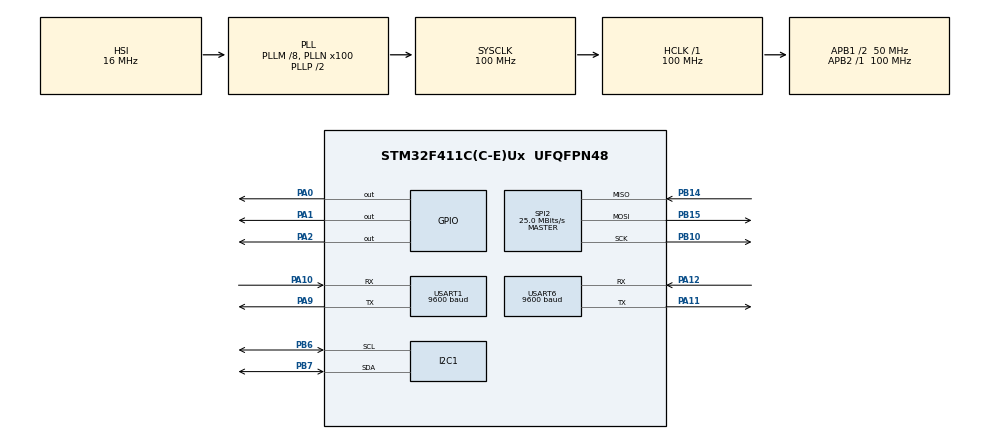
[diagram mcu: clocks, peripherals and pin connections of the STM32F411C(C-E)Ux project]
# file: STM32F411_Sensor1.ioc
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FREERTOS.BinarySemaphores01=myBinarySem01,Dynamic,NULL
FREERTOS.Queues01=myQueue01,16,uint16_t,0,Dynamic,NULL,NULL
FREERTOS.Tasks01=defaultTask,0,128,StartDefaultTask,Default,NULL,Dynamic,NULL,NULL;myTask02,-3,256,StartTask02,Default,NULL,Dynamic,NULL,NULL;myTask03,-3,128,StartTask03,Default,NULL,Dynamic,NULL,NULL
FREERTOS.Timers01=myTimer01,Callback01,osTimerPeriodic,Default,NULL,Dynamic,NULL
FREERTOS.configUSE_TIMERS=1
IWDG.Reload=750
Mcu.Family=STM32F4
Mcu.Name=STM32F411C(C-E)Ux
Mcu.Package=UFQFPN48
NVIC.PriorityGroup=NVIC_PRIORITYGROUP_4
NVIC.SPI2_IRQn=true\:5\:0\:false\:false\:true\:true\:true\:true\:true
NVIC.TIM2_IRQn=true\:15\:0\:false\:false\:true\:false\:false\:true\:true
NVIC.TimeBase=TIM2_IRQn
NVIC.TimeBaseIP=TIM2
NVIC.USART1_IRQn=true\:5\:0\:false\:false\:true\:true\:true\:true\:true
NVIC.USART6_IRQn=true\:5\:0\:false\:false\:true\:true\:true\:true\:true
PA0-WKUP.Signal=GPIO_Output
PA1.Signal=GPIO_Output
PA10.Mode=Asynchronous
PA10.Signal=USART1_RX
PA11.Mode=Asynchronous
PA11.Signal=USART6_TX
PA12.Mode=Asynchronous
PA12.Signal=USART6_RX
PA13.Mode=Serial_Wire
PA13.Signal=SYS_JTMS-SWDIO
PA14.Mode=Serial_Wire
PA14.Signal=SYS_JTCK-SWCLK
PA2.Signal=GPIO_Output
PA9.Mode=Asynchronous
PA9.Signal=USART1_TX
PB10.Mode=Full_Duplex_Master
PB10.Signal=SPI2_SCK
PB14.Mode=Full_Duplex_Master
PB14.Signal=SPI2_MISO
PB15.Mode=Full_Duplex_Master
PB15.Signal=SPI2_MOSI
PB6.Mode=I2C
PB6.Signal=I2C1_SCL
PB7.Mode=I2C
PB7.Signal=I2C1_SDA
PC14-OSC32_IN.Mode=LSE-External-Oscillator
PC14-OSC32_IN.Signal=RCC_OSC32_IN
PC15-OSC32_OUT.Mode=LSE-External-Oscillator
PC15-OSC32_OUT.Signal=RCC_OSC32_OUT
PH0\ -\ OSC_IN.Mode=HSE-External-Oscillator
PH0\ -\ OSC_IN.Signal=RCC_OSC_IN
PH1\ -\ OSC_OUT.Mode=HSE-External-Oscillator
PH1\ -\ OSC_OUT.Signal=RCC_OSC_OUT
ProjectManager.HeapSize=0xC00
ProjectManager.StackSize=0x400
ProjectManager.TargetToolchain=MDK-ARM V5
RCC.48MHZClocksFreq_Value=50000000
RCC.AHBFreq_Value=100000000
RCC.APB1CLKDivider=RCC_HCLK_DIV2
RCC.APB1Freq_Value=50000000
RCC.APB1TimFreq_Value=100000000
RCC.APB2Freq_Value=100000000
RCC.APB2TimFreq_Value=100000000
RCC.CortexFreq_Value=100000000
RCC.HCLKFreq_Value=100000000
RCC.HSE_VALUE=25000000
RCC.HSI_VALUE=16000000
RCC.PLLM=8
RCC.PLLN=100
RCC.SYSCLKFreq_VALUE=100000000
RCC.SYSCLKSource=RCC_SYSCLKSOURCE_PLLCLK
RCC.VCOOutputFreq_Value=200000000
SPI2.CalculateBaudRate=25.0 MBits/s
SPI2.Direction=SPI_DIRECTION_2LINES
SPI2.Mode=SPI_MODE_MASTER
SPI2.VirtualType=VM_MASTER
USART1.BaudRate=9600
USART1.VirtualMode=VM_ASYNC
USART6.BaudRate=9600
USART6.VirtualMode=VM_ASYNC
VP_FREERTOS_VS_CMSIS_V1.Mode=CMSIS_V1
VP_IWDG_VS_IWDG.Mode=IWDG_Activate
VP_RTC_VS_RTC_Activate.Mode=RTC_Enabled
VP_RTC_VS_RTC_Calendar.Mode=RTC_Calendar
VP_SYS_VS_tim2.Mode=TIM2
board=custom

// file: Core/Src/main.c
/* USER CODE BEGIN Header */
/**
  ******************************************************************************
  * @file           : main.c
  * @brief          : Main program body
  ******************************************************************************
  * @attention
  *
  * Copyright (c) 2024 STMicroelectronics.
  * All rights reserved.
  *
  * This software is licensed under terms that can be found in the LICENSE file
  * in the root directory of this software component.
  * If no LICENSE file comes with this software, it is provided AS-IS.
  *
  ******************************************************************************
  */
/* USER CODE END Header */
#include "main.h"
#include "cmsis_os.h"
#include "i2c.h"
#include "iwdg.h"
#include "rtc.h"
#include "spi.h"
#include "usart.h"
#include "gpio.h"

void SystemClock_Config(void);
void MX_FREERTOS_Init(void);

int main(void)
{

  /* MCU Configuration--------------------------------------------------------*/

  /* Reset of all peripherals, Initializes the Flash interface and the Systick. */
  HAL_Init();

  /* Configure the system clock */
  SystemClock_Config();

  /* Initialize all configured peripherals */
  MX_GPIO_Init();
  MX_I2C1_Init();
  MX_IWDG_Init();
  MX_RTC_Init();
  MX_SPI2_Init();
  MX_USART1_UART_Init();
  MX_USART6_UART_Init();

  /* Call init function for freertos objects (in freertos.c) */
  MX_FREERTOS_Init();

  /* Start scheduler */
  osKernelStart();

  /* We should never get here as control is now taken by the scheduler */
  /* Infinite loop */
  while (1)
  {

  }
}

void SystemClock_Config(void)
{
  RCC_OscInitTypeDef RCC_OscInitStruct = {0};
  RCC_ClkInitTypeDef RCC_ClkInitStruct = {0};

  /** Configure the main internal regulator output voltage
  */
  __HAL_RCC_PWR_CLK_ENABLE();
  __HAL_PWR_VOLTAGESCALING_CONFIG(PWR_REGULATOR_VOLTAGE_SCALE1);

  /** Initializes the RCC Oscillators according to the specified parameters
  * in the RCC_OscInitTypeDef structure.
  */
  RCC_OscInitStruct.OscillatorType = RCC_OSCILLATORTYPE_HSI|RCC_OSCILLATORTYPE_LSI;
  RCC_OscInitStruct.HSIState = RCC_HSI_ON;
  RCC_OscInitStruct.HSICalibrationValue = RCC_HSICALIBRATION_DEFAULT;
  RCC_OscInitStruct.LSIState = RCC_LSI_ON;
  RCC_OscInitStruct.PLL.PLLState = RCC_PLL_ON;
  RCC_OscInitStruct.PLL.PLLSource = RCC_PLLSOURCE_HSI;
  RCC_OscInitStruct.PLL.PLLM = 8;
  RCC_OscInitStruct.PLL.PLLN = 100;
  RCC_OscInitStruct.PLL.PLLP = RCC_PLLP_DIV2;
  RCC_OscInitStruct.PLL.PLLQ = 4;
  if (HAL_RCC_OscConfig(&RCC_OscInitStruct) != HAL_OK)
  {
    Error_Handler();
  }

  /** Initializes the CPU, AHB and APB buses clocks
  */
  RCC_ClkInitStruct.ClockType = RCC_CLOCKTYPE_HCLK|RCC_CLOCKTYPE_SYSCLK
                              |RCC_CLOCKTYPE_PCLK1|RCC_CLOCKTYPE_PCLK2;
  RCC_ClkInitStruct.SYSCLKSource = RCC_SYSCLKSOURCE_PLLCLK;
  RCC_ClkInitStruct.AHBCLKDivider = RCC_SYSCLK_DIV1;
  RCC_ClkInitStruct.APB1CLKDivider = RCC_HCLK_DIV2;
  RCC_ClkInitStruct.APB2CLKDivider = RCC_HCLK_DIV1;

  if (HAL_RCC_ClockConfig(&RCC_ClkInitStruct, FLASH_LATENCY_3) != HAL_OK)
  {
    Error_Handler();
  }
}

void HAL_TIM_PeriodElapsedCallback(TIM_HandleTypeDef *htim)
{
  if (htim->Instance == TIM2) {
    HAL_IncTick();
  }
}

void Error_Handler(void)
{
  __disable_irq();
  while (1)
  {
  }
}

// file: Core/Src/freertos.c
/* USER CODE BEGIN Header */
/**
  ******************************************************************************
  * File Name          : freertos.c
  * Description        : Code for freertos applications
  ******************************************************************************
  * @attention
  *
  * Copyright (c) 2024 STMicroelectronics.
  * All rights reserved.
  *
  * This software is licensed under terms that can be found in the LICENSE file
  * in the root directory of this software component.
  * If no LICENSE file comes with this software, it is provided AS-IS.
  *
  ******************************************************************************
  */
/* USER CODE END Header */

#include "FreeRTOS.h"
#include "task.h"
#include "main.h"
#include "cmsis_os.h"

/* USER CODE BEGIN Includes */
#include "usart.h"
#include "iwdg.h"
#include "cJSON.h"
#include "stdio.h"
#include "stdlib.h"
#include "string.h"
/* USER CODE END Includes */

/* USER CODE BEGIN PD */
uint8_t DO_AT[]={0x03, 0x03, 0x00, 0x00, 0x00, 0x06, 0xC4, 0x2A};//DissolvedOxygen
uint8_t PH_AT[]={0x03, 0x03, 0x00, 0x00, 0x00, 0x06, 0xC4, 0x2A};//PH
uint8_t ORP_AT[]={0x03, 0x03, 0x00, 0x00, 0x00, 0x06, 0xC4, 0x2A};//ORP
extern uint8_t  DissolvedOxygen[256];		//溶解養
extern float DO_Saturation; //溶解氧飽和度
extern float DO_Concentration; //溶解氧濃度
extern float Temperature; //溫度
extern float PH; //酸鹼值
extern float ORP; //氧化還原電位
extern uint8_t RX1Data;
extern uint8_t RX1Buffer[256];
extern uint8_t RX6Data;
int TimeCount=0;
int SentDataTask=0;
/* USER CODE END PD */

osThreadId defaultTaskHandle;
osThreadId myTask02Handle;
osThreadId myTask03Handle;
osMessageQId myQueue01Handle;
osTimerId myTimer01Handle;
osSemaphoreId myBinarySem01Handle;

/* USER CODE BEGIN FunctionPrototypes */
void SentDataSensor();
float ParseFloat(uint8_t *data);
/* USER CODE END FunctionPrototypes */

void StartDefaultTask(void const * argument);
void StartTask02(void const * argument);
void StartTask03(void const * argument);
void Callback01(void const * argument);

void MX_FREERTOS_Init(void); /* (MISRA C 2004 rule 8.1) */

/* GetIdleTaskMemory prototype (linked to static allocation support) */
void vApplicationGetIdleTaskMemory( StaticTask_t **ppxIdleTaskTCBBuffer, StackType_t **ppxIdleTaskStackBuffer, uint32_t *pulIdleTaskStackSize );

/* GetTimerTaskMemory prototype (linked to static allocation support) */
void vApplicationGetTimerTaskMemory( StaticTask_t **ppxTimerTaskTCBBuffer, StackType_t **ppxTimerTaskStackBuffer, uint32_t *pulTimerTaskStackSize );

/* USER CODE BEGIN GET_IDLE_TASK_MEMORY */
static StaticTask_t xIdleTaskTCBBuffer;
static StackType_t xIdleStack[configMINIMAL_STACK_SIZE];

void vApplicationGetIdleTaskMemory( StaticTask_t **ppxIdleTaskTCBBuffer, StackType_t **ppxIdleTaskStackBuffer, uint32_t *pulIdleTaskStackSize )
{
  *ppxIdleTaskTCBBuffer = &xIdleTaskTCBBuffer;
  *ppxIdleTaskStackBuffer = &xIdleStack[0];
  *pulIdleTaskStackSize = configMINIMAL_STACK_SIZE;
  /* place for user code */
}
/* USER CODE END GET_IDLE_TASK_MEMORY */

/* USER CODE BEGIN GET_TIMER_TASK_MEMORY */
static StaticTask_t xTimerTaskTCBBuffer;
static StackType_t xTimerStack[configTIMER_TASK_STACK_DEPTH];

void vApplicationGetTimerTaskMemory( StaticTask_t **ppxTimerTaskTCBBuffer, StackType_t **ppxTimerTaskStackBuffer, uint32_t *pulTimerTaskStackSize )
{
  *ppxTimerTaskTCBBuffer = &xTimerTaskTCBBuffer;
  *ppxTimerTaskStackBuffer = &xTimerStack[0];
  *pulTimerTaskStackSize = configTIMER_TASK_STACK_DEPTH;
  /* place for user code */
}
/* USER CODE END GET_TIMER_TASK_MEMORY */

void MX_FREERTOS_Init(void) {

  /* Create the semaphores(s) */
  /* definition and creation of myBinarySem01 */
  osSemaphoreDef(myBinarySem01);
  myBinarySem01Handle = osSemaphoreCreate(osSemaphore(myBinarySem01), 1);

  /* Create the timer(s) */
  /* definition and creation of myTimer01 */
  osTimerDef(myTimer01, Callback01);
  myTimer01Handle = osTimerCreate(osTimer(myTimer01), osTimerPeriodic, NULL);

  /* Create the queue(s) */
  /* definition and creation of myQueue01 */
  osMessageQDef(myQueue01, 16, uint16_t);
  myQueue01Handle = osMessageCreate(osMessageQ(myQueue01), NULL);

  /* Create the thread(s) */
  /* definition and creation of defaultTask */
  osThreadDef(defaultTask, StartDefaultTask, osPriorityNormal, 0, 128);
  defaultTaskHandle = osThreadCreate(osThread(defaultTask), NULL);

  /* definition and creation of myTask02 */
  osThreadDef(myTask02, StartTask02, osPriorityIdle, 0, 256);
  myTask02Handle = osThreadCreate(osThread(myTask02), NULL);

  /* definition and creation of myTask03 */
  osThreadDef(myTask03, StartTask03, osPriorityIdle, 0, 128);
  myTask03Handle = osThreadCreate(osThread(myTask03), NULL);

}

void StartDefaultTask(void const * argument)
{
  /* USER CODE BEGIN StartDefaultTask */
	HAL_UART_Receive_IT(&huart1, &RX1Data, 1);
	HAL_UART_Receive_IT(&huart6, &RX6Data, 1);

  /* Infinite loop */
  for(;;)
  {
		UART_SEND1(DO_AT);
		//SentDataTask=1;
    osDelay(500);
  }
  /* USER CODE END StartDefaultTask */
}

void StartTask02(void const * argument)
{
  /* USER CODE BEGIN StartTask02 */
  /* Infinite loop */
  for(;;)
  {
		if(SentDataTask==1)
		{
//			DO_Saturation = ParseFloat(&DissolvedOxygen[3]);  // 溶解氧飽和度
//			DO_Concentration = ParseFloat(&DissolvedOxygen[7]);  // 溶解氧濃度
//			Temperature = ParseFloat(&DissolvedOxygen[11]); // 溫度
//			memset(DissolvedOxygen, 0, sizeof(DissolvedOxygen));
			SentDataSensor();
			SentDataTask=0;
		}
		osDelay(500);
  }
  /* USER CODE END StartTask02 */
}

void StartTask03(void const * argument)
{
  /* USER CODE BEGIN StartTask03 */
  /* Infinite loop */
  for(;;)
  {
		HAL_IWDG_Refresh(&hiwdg);
    osDelay(50);
  }
  /* USER CODE END StartTask03 */
}

/* Callback01 function */
void Callback01(void const * argument)
{
  /* USER CODE BEGIN Callback01 */
	TimeCount++;
	if(TimeCount%5)
	{
		//SentDataSensor();
	}
	if(TimeCount>59)
	{
		TimeCount=0;
	}
  /* USER CODE END Callback01 */
}

/* USER CODE BEGIN Application */
void SentDataSensor()
{
    cJSON *DataObject;
    char *data;

    // 創建 JSON 對象
    DataObject = cJSON_CreateObject();

    // 添加操作類型
    cJSON_AddItemToObject(DataObject, "Operating", cJSON_CreateString("UpdateSensorData"));

    // 添加溶解氧數據
    char DO_Saturation_String[16];
    char DO_Concentration_String[16];
    char Temperature_String[16];
		char PH_String[16];
		char ORP_String[16];
    // 將 float 數據轉換為字串
    snprintf(DO_Saturation_String, sizeof(DO_Saturation_String), "%.2f", DO_Saturation);
    snprintf(DO_Concentration_String, sizeof(DO_Concentration_String), "%.2f", DO_Concentration);
    snprintf(Temperature_String, sizeof(Temperature_String), "%.2f", Temperature);
    snprintf(PH_String, sizeof(PH_String), "%.2f", PH);
    snprintf(ORP_String, sizeof(ORP_String), "%.2f", ORP);

    // 將字串添加到 JSON 對象
    cJSON_AddItemToObject(DataObject, "DO_Saturation", cJSON_CreateString(DO_Saturation_String));
    cJSON_AddItemToObject(DataObject, "DO_Concentration", cJSON_CreateString(DO_Concentration_String));
    cJSON_AddItemToObject(DataObject, "Temperature", cJSON_CreateString(Temperature_String));
		cJSON_AddItemToObject(DataObject, "PH", cJSON_CreateString(PH_String));
		cJSON_AddItemToObject(DataObject, "ORP", cJSON_CreateString(ORP_String));
		memset(DO_Saturation_String, 0, sizeof(DO_Saturation_String));
		memset(DO_Concentration_String, 0, sizeof(DO_Concentration_String));
		memset(Temperature_String, 0, sizeof(Temperature_String));
		memset(PH_String, 0, sizeof(PH_String));
		memset(ORP_String, 0, sizeof(ORP_String));
		DO_Saturation=0;
		DO_Concentration=0;
		Temperature=0;
		PH=0;
		ORP=0;
    // 生成 JSON 字串
    data = cJSON_Print(DataObject);

    // 發送 JSON 封包（假設 UART_SEND6 是發送函式）
    UART_SEND6(data);

    // 刪除 JSON 對象，釋放記憶體
    cJSON_Delete(DataObject);
    free(data);
}

//float ParseFloat(uint8_t *data)
//{
//    uint32_t temp = (data[0] << 24) | (data[1] << 16) | (data[2] << 8) | data[3];
//    float result;
//    memcpy(&result, &temp, sizeof(float));
//    return result;
//}

/* USER CODE END Application */
